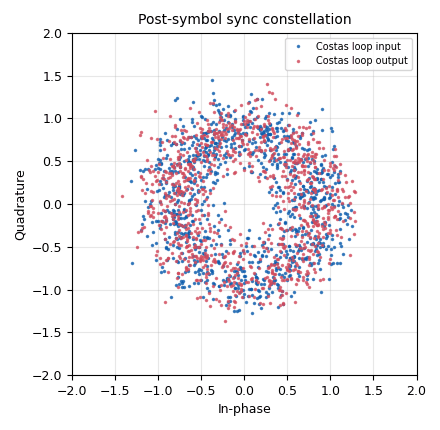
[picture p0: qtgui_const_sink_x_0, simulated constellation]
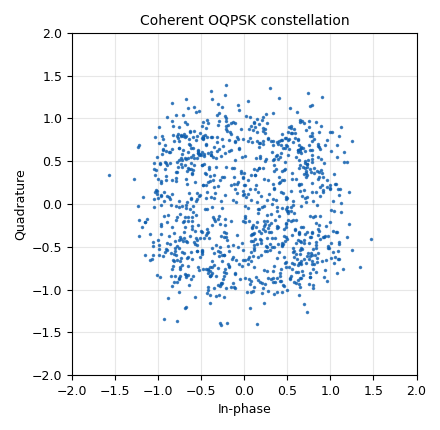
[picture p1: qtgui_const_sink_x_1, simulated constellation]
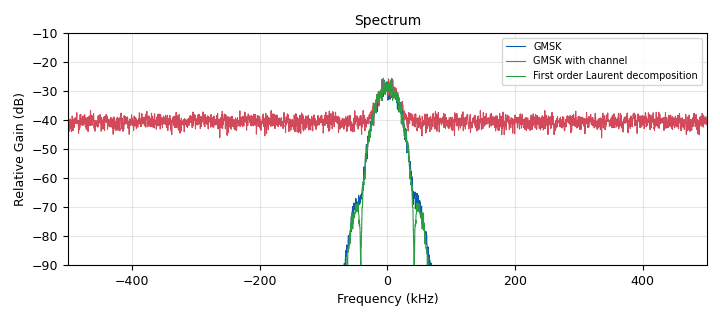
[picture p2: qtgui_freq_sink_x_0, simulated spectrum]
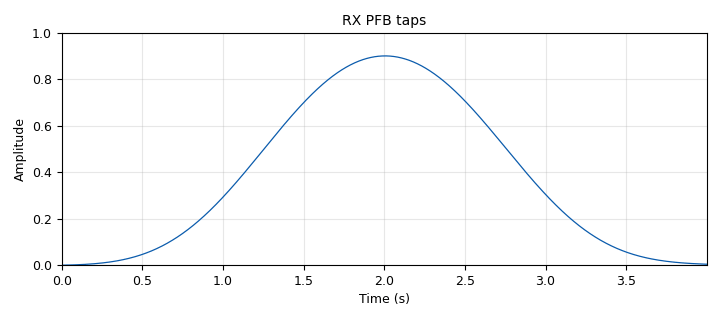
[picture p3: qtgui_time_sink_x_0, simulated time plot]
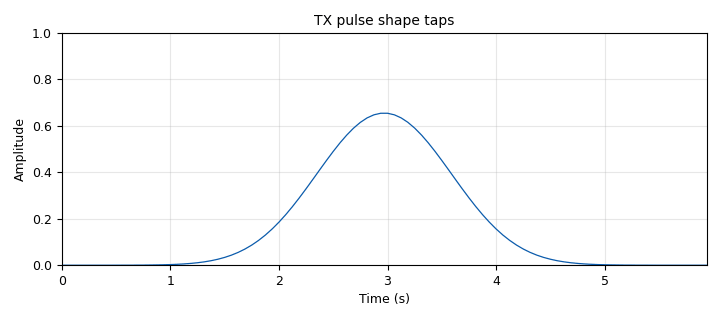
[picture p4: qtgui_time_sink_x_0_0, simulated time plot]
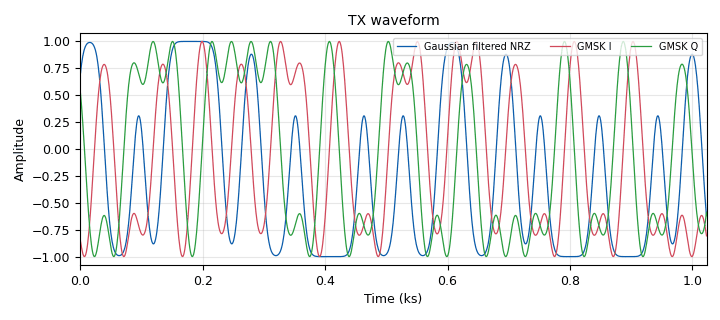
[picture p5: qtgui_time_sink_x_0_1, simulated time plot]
options:
  parameters:
    author: Daniel Estevez
    generate_options: qt_gui
    id: gmsk_demod
    output_language: python
    title: GMSK demodulator
  states: {}

blocks:
- name: C0
  id: variable
  parameters:
    value: S0[(rx_L - 1) * (pfb_arms * rx_sps):] * np.prod([S0[(rx_L - 1 -j) * (pfb_arms * rx_sps):-j*(pfb_arms * rx_sps)] for j in range(1, rx_L)], axis=0)
  states: {}
- name: N0
  id: variable
  parameters:
    value: tx_sps/10**(ebn0/10)
  states: {}
- name: S0
  id: variable
  parameters:
    value: np.concatenate((np.sin(rx_phi), np.sin(np.pi/2 - rx_phi)))
  states: {}
- name: ebn0
  id: variable_qtgui_entry
  parameters:
    label: Eb/N0 (dB)
    type: real
    value: '8'
  states: {}
- name: pfb_arms
  id: variable
  parameters:
    value: '32'
  states: {}
- name: rx_L
  id: variable
  parameters:
    value: '3'
  states: {}
- name: rx_bt
  id: variable
  parameters:
    value: tx_bt
  states: {}
- name: rx_gauss
  id: variable
  parameters:
    value: firdes.gaussian(1.0, rx_sps * pfb_arms, rx_bt, rx_L * rx_sps * pfb_arms)
  states: {}
- name: rx_phi
  id: variable
  parameters:
    value: np.cumsum(rx_pulse)/(rx_sps * pfb_arms)*np.pi/2
  states: {}
- name: rx_pulse
  id: variable
  parameters:
    value: np.convolve(rx_gauss, np.ones(rx_sps * pfb_arms), mode='same')
  states: {}
- name: rx_sps
  id: variable
  parameters:
    value: '16'
  states: {}
- name: tx_C0
  id: variable
  parameters:
    value: tx_S0[(tx_L - 1)*tx_sps:] * np.prod([tx_S0[(tx_L - 1 -j)*tx_sps:-j*tx_sps] for j in range(1, tx_L)], axis=0)
  states: {}
- name: tx_L
  id: variable
  parameters:
    value: '6'
  states: {}
- name: tx_S0
  id: variable
  parameters:
    value: np.concatenate((np.sin(tx_phi), np.sin(np.pi/2 - tx_phi)))
  states: {}
- name: tx_bt
  id: variable
  parameters:
    value: '0.25'
  states: {}
- name: tx_gauss
  id: variable
  parameters:
    value: firdes.gaussian(1.0, tx_sps, tx_bt, tx_L * tx_sps)
  states: {}
- name: tx_phi
  id: variable
  parameters:
    value: np.cumsum(tx_taps)/tx_sps*np.pi/2
  states: {}
- name: tx_sps
  id: variable
  parameters:
    value: '16'
  states: {}
- name: tx_taps
  id: variable
  parameters:
    value: np.convolve(tx_gauss, np.ones(tx_sps), mode='same')
  states: {}
- name: analog_frequency_modulator_fc_0
  id: analog_frequency_modulator_fc
  parameters:
    sensitivity: 2 * np.pi / 4 / tx_sps
  states: {}
- name: analog_random_source_x_0
  id: analog_random_source_x
  parameters:
    max: '2'
    min: '0'
    num_samps: '1_000_000'
    repeat: 'True'
    type: byte
  states: {}
- name: analog_random_source_x_0_0
  id: analog_random_source_x
  parameters:
    max: '2'
    min: '0'
    num_samps: '1_000_000'
    repeat: 'True'
    type: byte
  states: {}
- name: blocks_add_const_vxx_0
  id: blocks_add_const_vxx
  parameters:
    const: '-1'
    type: float
  states: {}
- name: blocks_add_const_vxx_0_0
  id: blocks_add_const_vxx
  parameters:
    const: '-1'
    type: float
  states: {}
- name: blocks_char_to_float_0
  id: blocks_char_to_float
  parameters:
    scale: '0.5'
  states: {}
- name: blocks_char_to_float_0_0
  id: blocks_char_to_float
  parameters:
    scale: '0.5'
  states: {}
- name: blocks_complex_to_float_0
  id: blocks_complex_to_float
  parameters: {}
  states: {}
- name: blocks_complex_to_imag_0
  id: blocks_complex_to_imag
  parameters: {}
  states: {}
- name: blocks_complex_to_real_0
  id: blocks_complex_to_real
  parameters: {}
  states: {}
- name: blocks_deinterleave_0
  id: blocks_deinterleave
  parameters:
    type: complex
  states: {}
- name: blocks_float_to_complex_0
  id: blocks_float_to_complex
  parameters: {}
  states: {}
- name: blocks_float_to_complex_1
  id: blocks_float_to_complex
  parameters: {}
  states: {}
- name: blocks_multiply_conjugate_cc_0
  id: blocks_multiply_conjugate_cc
  parameters: {}
  states: {}
- name: blocks_multiply_xx_0
  id: blocks_multiply_xx
  parameters:
    type: complex
  states: {}
- name: blocks_null_source_0
  id: blocks_null_source
  parameters:
    type: float
  states: {}
- name: blocks_throttle2_0
  id: blocks_throttle2
  parameters:
    samples_per_second: 1e6
    type: byte
  states: {}
- name: blocks_vector_source_x_0
  id: blocks_vector_source_x
  parameters:
    repeat: 'False'
    type: float
    vector: C0
  states: {}
- name: blocks_vector_source_x_0_0
  id: blocks_vector_source_x
  parameters:
    repeat: 'False'
    type: float
    vector: tx_taps
  states: {}
- name: blocks_vector_source_x_1
  id: blocks_vector_source_x
  parameters:
    repeat: 'True'
    type: complex
    vector: '[1, -1j]'
  states: {}
- name: channels_channel_model_0
  id: channels_channel_model
  parameters:
    epsilon: 1.0 + 1e-5
    freq_offset: '1e-4'
    noise_voltage: np.sqrt(N0)
    seed: '0'
    taps: '1.0'
  states: {}
- name: digital_costas_loop_cc_0
  id: digital_costas_loop_cc
  parameters:
    order: '2'
    w: '0.001'
  states: {}
- name: digital_symbol_sync_xx_0
  id: digital_symbol_sync_xx
  parameters:
    damping: '1.0'
    loop_bw: '0.01'
    max_dev: '0.01'
    nfilters: pfb_arms
    osps: '1'
    pfb_mf_taps: C0 * pfb_arms / np.sum(C0)
    resamp_type: digital.IR_PFB_MF
    sps: tx_sps
    ted_gain: '1.0'
    ted_type: digital.TED_DANDREA_AND_MENGALI_GEN_MSK
    type: cc
  states: {}
- name: import_0
  id: import
  parameters:
    imports: import numpy as np
  states: {}
- name: interp_fir_filter_xxx_0
  id: interp_fir_filter_xxx
  parameters:
    interp: tx_sps
    taps: tx_taps
    type: fff
  states: {}
- name: interp_fir_filter_xxx_0_0
  id: interp_fir_filter_xxx
  parameters:
    interp: tx_sps
    taps: tx_C0
    type: fff
  states: {}
- name: qtgui_const_sink_x_0
  id: qtgui_const_sink_x
  parameters:
    gui_hint: tabs@0:1,0
    label1: Costas loop input
    label2: Costas loop output
    name: Post-symbol sync constellation
    nconnections: '2'
    size: '1024'
    type: complex
  states: {}
- name: qtgui_const_sink_x_1
  id: qtgui_const_sink_x
  parameters:
    gui_hint: tabs@0:1,1
    name: Coherent OQPSK constellation
    size: '1024'
    type: complex
  states: {}
- name: qtgui_freq_sink_x_0
  id: qtgui_freq_sink_x
  parameters:
    average: '0.05'
    bw: 1e6
    fc: '0'
    fftsize: '4096'
    gui_hint: tabs@0:0,1
    label1: GMSK
    label2: GMSK with channel
    label3: First order Laurent decomposition
    name: Spectrum
    nconnections: '3'
    type: complex
    ymax: '-10'
    ymin: '-90'
  states: {}
- name: qtgui_time_sink_x_0
  id: qtgui_time_sink_x
  parameters:
    gui_hint: tabs@1:1,0
    name: RX PFB taps
    size: len(C0)
    srate: rx_sps * pfb_arms
    type: float
    ymin: '0'
  states: {}
- name: qtgui_time_sink_x_0_0
  id: qtgui_time_sink_x
  parameters:
    gui_hint: tabs@1:0,0
    name: TX pulse shape taps
    size: len(tx_taps)
    srate: tx_sps
    type: float
    ymin: '0'
  states: {}
- name: qtgui_time_sink_x_0_1
  id: qtgui_time_sink_x
  parameters:
    gui_hint: tabs@0:0,0
    label1: Gaussian filtered NRZ
    label2: GMSK I
    label3: GMSK Q
    name: TX waveform
    nconnections: '3'
    size: '1024'
    srate: '1'
    type: float
  states: {}
- name: tabs
  id: qtgui_tab_widget
  parameters:
    label0: Simulation
    label1: Filter taps
    num_tabs: '2'
  states: {}
- name: virtual_sink_0
  id: virtual_sink
  parameters:
    stream_id: rx_iq
  states: {}
- name: virtual_source_0
  id: virtual_source
  parameters:
    stream_id: rx_iq
  states: {}

connections:
- [analog_frequency_modulator_fc_0, '0', blocks_complex_to_float_0, '0']
- [analog_frequency_modulator_fc_0, '0', channels_channel_model_0, '0']
- [analog_frequency_modulator_fc_0, '0', qtgui_freq_sink_x_0, '0']
- [analog_random_source_x_0, '0', blocks_throttle2_0, '0']
- [analog_random_source_x_0_0, '0', blocks_char_to_float_0_0, '0']
- [blocks_add_const_vxx_0, '0', interp_fir_filter_xxx_0, '0']
- [blocks_add_const_vxx_0_0, '0', interp_fir_filter_xxx_0_0, '0']
- [blocks_char_to_float_0, '0', blocks_add_const_vxx_0, '0']
- [blocks_char_to_float_0_0, '0', blocks_add_const_vxx_0_0, '0']
- [blocks_complex_to_float_0, '0', qtgui_time_sink_x_0_1, '1']
- [blocks_complex_to_float_0, '1', qtgui_time_sink_x_0_1, '2']
- [blocks_complex_to_imag_0, '0', blocks_float_to_complex_1, '1']
- [blocks_complex_to_real_0, '0', blocks_float_to_complex_1, '0']
- [blocks_deinterleave_0, '0', blocks_complex_to_real_0, '0']
- [blocks_deinterleave_0, '1', blocks_complex_to_imag_0, '0']
- [blocks_float_to_complex_0, '0', qtgui_freq_sink_x_0, '2']
- [blocks_float_to_complex_1, '0', qtgui_const_sink_x_1, '0']
- [blocks_multiply_conjugate_cc_0, '0', blocks_deinterleave_0, '0']
- [blocks_multiply_conjugate_cc_0, '0', qtgui_const_sink_x_0, '1']
- [blocks_multiply_xx_0, '0', digital_costas_loop_cc_0, '0']
- [blocks_null_source_0, '0', blocks_float_to_complex_0, '1']
- [blocks_throttle2_0, '0', blocks_char_to_float_0, '0']
- [blocks_vector_source_x_0, '0', qtgui_time_sink_x_0, '0']
- [blocks_vector_source_x_0_0, '0', qtgui_time_sink_x_0_0, '0']
- [blocks_vector_source_x_1, '0', blocks_multiply_conjugate_cc_0, '1']
- [blocks_vector_source_x_1, '0', blocks_multiply_xx_0, '1']
- [channels_channel_model_0, '0', qtgui_freq_sink_x_0, '1']
- [channels_channel_model_0, '0', virtual_sink_0, '0']
- [digital_costas_loop_cc_0, '0', blocks_multiply_conjugate_cc_0, '0']
- [digital_symbol_sync_xx_0, '0', blocks_multiply_xx_0, '0']
- [digital_symbol_sync_xx_0, '0', qtgui_const_sink_x_0, '0']
- [interp_fir_filter_xxx_0, '0', analog_frequency_modulator_fc_0, '0']
- [interp_fir_filter_xxx_0, '0', qtgui_time_sink_x_0_1, '0']
- [interp_fir_filter_xxx_0_0, '0', blocks_float_to_complex_0, '0']
- [virtual_source_0, '0', digital_symbol_sync_xx_0, '0']

metadata:
  file_format: 1
  grc_version: 3.10.11.0
